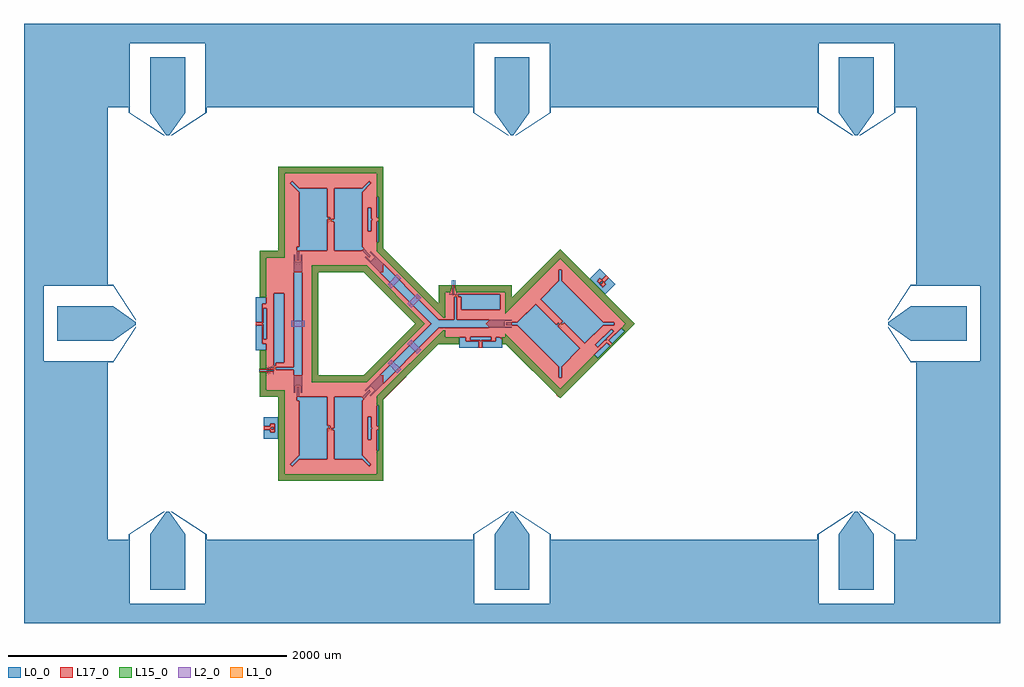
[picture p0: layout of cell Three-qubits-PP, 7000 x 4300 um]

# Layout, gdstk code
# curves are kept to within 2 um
import gdstk
lib = gdstk.Library(unit=1e-6, precision=1e-09)
def R(c, l, rs):  # rectangles x0, y0, x1, y1
    for r in rs: c.add(gdstk.rectangle(r[:2], r[2:], *l))
def P(c, l, *ps):  # polygons
    for p in ps: c.add(gdstk.Polygon(p, *l))
L0_0 = (0, 0)
L1_0 = (1, 0)
L2_0 = (2, 0)
L15_0 = (15, 0)
L17_0 = (17, 0)

three_qubits_pp = lib.new_cell('Three-qubits-PP')
R(three_qubits_pp, L0_0, [(2530,1237.4,2545,1388), (2530,1412,2545,1562.6), (2530,2733.4,2545,2884), (2530,2908,2545,3058.6)])
P(three_qubits_pp, L0_0, [(7000,0),(7000,4300),(0,4300),(0,1871),(132,1871),(132,2429),(600,2429),(600,3700),(751,3700),(751,4168),(1309,4168),(1309,3700),(3221,3700),(3221,4168),(3779,4168),(3779,3700),(5691,3700),(5691,4168),(6249,4168),(6249,3700),(6400,3700),(6400,2429),(6868,2429),(6868,1871),(6400,1871),(6400,600),(6249,600),(6249,132),(5691,132),(5691,600),(3779,600),(3779,132),(3221,132),(3221,600),(1309,600),(1309,132),(751,132),(751,600),(600,600),(600,1871),(132,1871),(0,1871),(0,0)],
  [(800,2118),(800,2128),(640,1879),(140,1879),(140,2421),(640,2421),(800,2172),(800,2182),(640,2429),(132,2429),(132,1871),(640,1871)],
  [(240,2025),(640,2025),(800,2140),(800,2160),(640,2275),(240,2275)],
  [(6200,2182),(6200,2172),(6360,2421),(6860,2421),(6860,1879),(6360,1879),(6200,2128),(6200,2118),(6360,1871),(6868,1871),(6868,2429),(6360,2429)],
  [(6760,2275),(6360,2275),(6200,2160),(6200,2140),(6360,2025),(6760,2025)],
  [(1062,800),(1052,800),(1301,640),(1301,140),(759,140),(759,640),(1008,800),(998,800),(751,640),(751,132),(1309,132),(1309,640)],
  [(1155,240),(1155,640),(1040,800),(1020,800),(905,640),(905,240)],
  [(998,3500),(1008,3500),(759,3660),(759,4160),(1301,4160),(1301,3660),(1052,3500),(1062,3500),(1309,3660),(1309,4168),(751,4168),(751,3660)],
  [(905,4060),(905,3660),(1020,3500),(1040,3500),(1155,3660),(1155,4060)],
  [(3532,800),(3522,800),(3771,640),(3771,140),(3229,140),(3229,640),(3478,800),(3468,800),(3221,640),(3221,132),(3779,132),(3779,640)],
  [(3625,240),(3625,640),(3510,800),(3490,800),(3375,640),(3375,240)],
  [(3468,3500),(3478,3500),(3229,3660),(3229,4160),(3771,4160),(3771,3660),(3522,3500),(3532,3500),(3779,3660),(3779,4168),(3221,4168),(3221,3660)],
  [(3375,4060),(3375,3660),(3490,3500),(3510,3500),(3625,3660),(3625,4060)],
  [(6002,800),(5992,800),(6241,640),(6241,140),(5699,140),(5699,640),(5948,800),(5938,800),(5691,640),(5691,132),(6249,132),(6249,640)],
  [(6095,240),(6095,640),(5980,800),(5960,800),(5845,640),(5845,240)],
  [(5938,3500),(5948,3500),(5699,3660),(5699,4160),(6241,4160),(6241,3660),(5992,3500),(6002,3500),(6249,3660),(6249,4168),(5691,4168),(5691,3660)],
  [(5845,4060),(5845,3660),(5960,3500),(5980,3500),(6095,3660),(6095,4060)],
  [(1975,1175),(2175,1175),(2175,1400),(2182,1400),(2182,1408),(2187,1408),(2187,1400),(2195,1400),(2195,1416),(2175,1416),(2175,1625),(1975,1625),(1975,1695),(1955,1695),(1955,1595),(1975,1595),(1975,1203.284),(1911.36,1139.645),(1925.503,1125.503)],
  [(2488.64,1139.645),(2425,1203.284),(2425,1596.716),(2488.64,1660.355),(2474.497,1674.497),(2425,1625),(2225,1625),(2225,1400),(2205,1400),(2205,1392),(2213,1392),(2213,1387),(2205,1387),(2205,1384),(2225,1384),(2225,1175),(2425,1175),(2474.497,1125.503)],
  [(2490,1396),(2497,1396),(2497,1404),(2490,1404),(2490,1482.6),(2465,1482.6),(2465,1317.4),(2490,1317.4)],
  [(1822,1478),(1719,1478),(1719,1412),(1767,1412),(1767,1430),(1797,1430),(1797,1370),(1767,1370),(1767,1388),(1719,1388),(1719,1322),(1822,1322)],
  [(1790,1407),(1774,1407),(1774,1404),(1767,1404),(1767,1396),(1774,1396),(1774,1393),(1790,1393)],
  [(2488.64,2635.645),(2425,2699.284),(2425,3092.716),(2488.64,3156.355),(2474.497,3170.497),(2425,3121),(2225,3121),(2225,2896),(2205,2896),(2205,2888),(2213,2888),(2213,2883),(2205,2883),(2205,2880),(2225,2880),(2225,2671),(2425,2671),(2474.497,2621.503)],
  [(1975,2671),(2175,2671),(2175,2896),(2182,2896),(2182,2904),(2187,2904),(2187,2896),(2195,2896),(2195,2912),(2175,2912),(2175,3121),(1975,3121),(1925.503,3170.497),(1911.36,3156.355),(1975,3092.716),(1975,2701),(1955,2701),(1955,2601),(1975,2601)],
  [(2490,2892),(2497,2892),(2497,2900),(2490,2900),(2490,2978.6),(2465,2978.6),(2465,2813.4),(2490,2813.4)],
  [(4234.198,2158.001),(4154.198,2158),(3856,2456.198),(3856.001,2536.198),(3835.999,2536.198),(3836,2456.198),(3704.579,2324.777),(3863.678,2165.678),(3849.536,2151.536),(3855.192,2145.879),(3860.849,2151.536),(3864.385,2148),(3858.728,2142.343),(3860.849,2140.222),(3874.991,2154.364),(4022.777,2006.579),(4154.198,2138),(4234.198,2137.999)],
  [(3856,1839.802),(3987.421,1971.223),(3828.322,2130.322),(3833.272,2135.272),(3827.615,2140.929),(3831.151,2144.464),(3836.808,2138.808),(3842.464,2144.464),(3831.151,2155.778),(3817.009,2141.636),(3669.223,2289.421),(3537.802,2158),(3457.802,2158.001),(3457.802,2137.999),(3537.802,2138),(3836,1839.802),(3835.999,1759.802),(3856.001,1759.802)],
  [(4194.604,2479.633),(4160.663,2445.692),(4173.39,2432.964),(4152.177,2411.751),(4109.751,2454.177),(4130.964,2475.39),(4143.692,2462.663),(4177.633,2496.604),(4130.964,2543.273),(4058.132,2470.441),(4168.441,2360.132),(4241.273,2432.964)],
  [(4150.056,2446.399),(4155.006,2451.349),(4149.349,2457.006),(4144.399,2452.056),(4142.278,2454.177),(4130.964,2442.864),(4140.864,2432.964),(4152.177,2444.278)],
  [(4175.512,2039.106),(4229.252,2092.846),(4211.574,2110.523),(4098.437,1997.386),(4116.115,1979.709),(4169.855,2033.449),(4174.805,2028.499),(4180.462,2034.156)],
  [(4178.34,2013.65),(4091.366,1926.676),(4116.115,1901.927),(4203.089,1988.901)],
  [(4282.285,2117.594),(4195.311,2030.62),(4220.059,2005.872),(4307.034,2092.846)],
  [(1985,2593),(1945,2593),(1945,2643),(1935,2643),(1935,1836),(1806,1836),(1806,1820),(1935,1820),(1935,1653),(1945,1653),(1945,1703),(1985,1703),(1985,1653),(1995,1653),(1995,2643),(1985,2643)],
  [(1738,1824.5),(1688,1824.5),(1688,1821.5),(1738,1821.5),(1788,1836.5),(1788,1816.5),(1688,1816.5),(1688,1807.5),(1788,1807.5),(1788,1787.5),(1738,1802.5),(1688,1802.5),(1688,1799.5),(1738,1799.5),(1788,1784.5),(1791,1784.5),(1791,1839.5),(1788,1839.5)],
  [(1790,1846),(1806,1846),(1806,1868),(1865,1868),(1865,2368),(1790,2368)],
  [(1662.5,1956.4),(1737.5,1956.4),(1737.5,2004.4),(1710.5,2004.4),(1710.5,2136),(1662.5,2136)],
  [(1717.5,2152),(1710.5,2152),(1710.5,2144),(1717.5,2144),(1717.5,2036.4),(1742.5,2036.4),(1742.5,2259.6),(1717.5,2259.6)],
  [(1662.5,2160),(1710.5,2160),(1710.5,2291.6),(1737.5,2291.6),(1737.5,2339.6),(1662.5,2339.6)],
  [(3447,2128),(3447,2168),(3497,2168),(3497,2178),(3103,2178),(3103,2342),(3087,2342),(3087,2178),(2975,2178),(2485.682,2667.318),(2478.611,2660.247),(2513.966,2624.891),(2485.682,2596.607),(2450.327,2631.963),(2443.256,2624.891),(2920.148,2148),(2443.256,1671.109),(2450.327,1664.037),(2485.682,1699.393),(2513.966,1671.109),(2478.611,1635.753),(2485.682,1628.682),(2975,2118),(3497,2118),(3497,2128)],
  [(3091.5,2410),(3091.5,2460),(3088.5,2460),(3088.5,2410),(3103.5,2360),(3083.5,2360),(3083.5,2460),(3074.5,2460),(3074.5,2360),(3054.5,2360),(3069.5,2410),(3069.5,2460),(3066.5,2460),(3066.5,2410),(3051.5,2360),(3051.5,2357),(3106.5,2357),(3106.5,2360)],
  [(3113,2358),(3113,2342),(3135,2342),(3135,2248),(3415,2248),(3415,2358)],
  [(3168.01,2023.5),(3168.01,2050.5),(3120.01,2050.5),(3120.01,1975.5),(3263,1975.5),(3263,2023.5)],
  [(3200.01,2055.5),(3200.01,2030.5),(3271,2030.5),(3271,2023.5),(3279,2023.5),(3279,2030.5),(3349.99,2030.5),(3349.99,2055.5)],
  [(3381.99,2050.5),(3381.99,2023.5),(3287,2023.5),(3287,1975.5),(3429.99,1975.5),(3429.99,2050.5)])
P(three_qubits_pp, L1_0, [(2180.5,1388.606),(2180.5,1388.394),(2185.394,1388.394),(2185.394,1375.5),(2185.606,1375.5),(2185.606,1388.394),(2200.5,1388.394),(2200.5,1387.5),(2212.5,1387.5),(2212.5,1389.5),(2200.5,1389.5),(2200.5,1388.606),(2185.606,1388.606),(2185.606,1395.5),(2186.5,1395.5),(2186.5,1407.5),(2184.5,1407.5),(2184.5,1395.5),(2185.394,1395.5),(2185.394,1388.606)],
  [(2180.5,2884.606),(2180.5,2884.394),(2185.394,2884.394),(2185.394,2871.5),(2185.606,2871.5),(2185.606,2884.394),(2200.5,2884.394),(2200.5,2883.5),(2212.5,2883.5),(2212.5,2885.5),(2200.5,2885.5),(2200.5,2884.606),(2185.606,2884.606),(2185.606,2891.5),(2186.5,2891.5),(2186.5,2903.5),(2184.5,2903.5),(2184.5,2891.5),(2185.394,2891.5),(2185.394,2884.606)],
  [(3840.268,2126.155),(3840.418,2126.005),(3843.879,2129.465),(3852.996,2120.348),(3853.146,2120.498),(3844.029,2129.615),(3854.56,2140.147),(3855.192,2139.515),(3863.678,2148),(3862.263,2149.414),(3853.778,2140.929),(3854.41,2140.297),(3843.879,2129.765),(3839.004,2134.64),(3839.636,2135.272),(3831.151,2143.757),(3829.737,2142.343),(3838.222,2133.858),(3838.854,2134.49),(3843.729,2129.615)],
  [(1797.788,1830.773),(1795,1830.773),(1795,1830.561),(1797.788,1830.561),(1797.788,1825.439),(1795,1825.439),(1795,1825.227),(1797.788,1825.227),(1797.788,1821),(1798,1821),(1798,1825.227),(1806,1825.227),(1806,1825.439),(1798,1825.439),(1798,1830.561),(1806,1830.561),(1806,1830.773),(1798,1830.773),(1798,1846),(1797.788,1846)],
  [(3097.773,2350.212),(3097.773,2353),(3097.561,2353),(3097.561,2350.212),(3092.439,2350.212),(3092.439,2353),(3092.227,2353),(3092.227,2350.212),(3088,2350.212),(3088,2350),(3092.227,2350),(3092.227,2342),(3092.439,2342),(3092.439,2350),(3097.561,2350),(3097.561,2342),(3097.773,2342),(3097.773,2350),(3113,2350),(3113,2350.212)])
R(three_qubits_pp, L2_0, [(1915,2128,2015,2168)])
P(three_qubits_pp, L2_0, [(2635.589,1891.726),(2607.304,1863.442),(2678.015,1792.731),(2706.299,1821.015)],
  [(2678.015,2503.269),(2607.304,2432.558),(2635.589,2404.274),(2706.299,2474.985)],
  [(2777.01,2033.147),(2748.726,2004.863),(2819.437,1934.152),(2847.721,1962.437)],
  [(2819.437,2361.848),(2748.726,2291.137),(2777.01,2262.853),(2847.721,2333.563)])
R(three_qubits_pp, L15_0, [(1689.5,1824.5,1737.5,1956.4)])
P(three_qubits_pp, L15_0, [(3023,2375.5),(3056.15,2375.5),(3066.5,2410),(3066.5,2423.5),(2975,2423.5),(2975,2291.137),(2578,2688.137),(2578,3274),(1822,3274),(1822,2671),(1689.5,2671),(1689.5,2339.6),(1737.5,2339.6),(1737.5,2623),(1870,2623),(1870,3226),(2530,3226),(2530,3058.6),(2545,3058.6),(2545,2733.4),(2530,2733.4),(2530,2668.255),(3005.255,2193),(3023,2193)],
  [(4380.573,2148),(3846,2682.573),(3498,2334.573),(3498,2423.5),(3091.5,2423.5),(3091.5,2410),(3101.85,2375.5),(3450,2375.5),(3450,2218.69),(3846,2614.69),(4312.69,2148),(4282.285,2117.594),(4307.034,2092.846),(4116.115,1901.927),(4091.366,1926.676),(3846,1681.31),(3450,2077.31),(3450,2050.5),(3429.99,2050.5),(3429.99,2002.5),(3456.927,2002.5),(3846,1613.427)],
  [(2456.892,1730),(2874.893,2148),(2456.892,2566),(2062.5,2566),(2062.5,1778),(2110.5,1778),(2110.5,2518),(2437.01,2518),(2807.01,2148),(2437.01,1778),(2062.5,1778),(2062.5,1730)],
  [(2578,1607.863),(2975,2004.863),(2975,2002.5),(3120.01,2002.5),(3120.01,2050.5),(3023,2050.5),(3023,2103),(3005.255,2103),(2530,1627.745),(2530,1562.6),(2545,1562.6),(2545,1237.4),(2530,1237.4),(2530,1070),(1870,1070),(1870,1673),(1737.5,1673),(1737.5,1799.5),(1689.5,1799.5),(1689.5,1625),(1822,1625),(1822,1022),(2578,1022)])
P(three_qubits_pp, L17_0, [(2578,1022),(2578,1778),(1822,1778),(1822,1139.645),(1911.36,1139.645),(1975,1203.284),(1975,1595),(1955,1595),(1955,1695),(1975,1695),(1975,1625),(2175,1625),(2175,1416),(2195,1416),(2195,1400),(2187,1400),(2187,1408),(2182,1408),(2182,1400),(2175,1400),(2175,1384),(2205,1384),(2205,1387),(2213,1387),(2213,1392),(2205,1392),(2205,1400),(2225,1400),(2225,1625),(2425,1625),(2474.497,1674.497),(2488.64,1660.355),(2425,1596.716),(2425,1317.4),(2465,1317.4),(2465,1482.6),(2490,1482.6),(2490,1412),(2530,1412),(2530,1562.6),(2545,1562.6),(2545,1412),(2490,1412),(2490,1404),(2497,1404),(2497,1396),(2490,1396),(2490,1317.4),(2425,1317.4),(2425,1237.4),(2530,1237.4),(2530,1388),(2545,1388),(2545,1237.4),(2425,1237.4),(2425,1203.284),(2488.64,1139.645),(2474.497,1125.503),(2425,1175),(2225,1175),(2225,1384),(2175,1384),(2175,1175),(1975,1175),(1925.503,1125.503),(1911.36,1139.645),(1822,1139.645),(1822,1022)],
  [(1767,1388),(1767,1370),(1797,1370),(1797,1430),(1767,1430),(1767,1412),(1719,1412),(1719,1396),(1767,1396),(1767,1404),(1774,1404),(1774,1407),(1790,1407),(1790,1393),(1774,1393),(1774,1396),(1767,1396),(1719,1396),(1719,1388)],
  [(2578,3274),(1822,3274),(1822,3156.355),(1911.36,3156.355),(1925.503,3170.497),(1975,3121),(2175,3121),(2175,2912),(2195,2912),(2195,2896),(2187,2896),(2187,2904),(2182,2904),(2182,2896),(2175,2896),(2175,2880),(2205,2880),(2205,2883),(2213,2883),(2213,2888),(2205,2888),(2205,2896),(2225,2896),(2225,3121),(2425,3121),(2474.497,3170.497),(2488.64,3156.355),(2425,3092.716),(2425,2813.4),(2465,2813.4),(2465,2978.6),(2490,2978.6),(2490,2908),(2530,2908),(2530,3058.6),(2545,3058.6),(2545,2908),(2490,2908),(2490,2900),(2497,2900),(2497,2892),(2490,2892),(2490,2813.4),(2425,2813.4),(2425,2733.4),(2530,2733.4),(2530,2884),(2545,2884),(2545,2733.4),(2425,2733.4),(2425,2699.284),(2488.64,2635.645),(2474.497,2621.503),(2425,2671),(2225,2671),(2225,2880),(2175,2880),(2175,2671),(1975,2671),(1975,2601),(1955,2601),(1955,2701),(1975,2701),(1975,3092.716),(1911.36,3156.355),(1822,3156.355),(1822,2518),(2578,2518)],
  [(3846,2682.573),(3311.427,2148),(3767.812,1691.615),(3835.999,1759.802),(3836,1839.802),(3537.802,2138),(3457.802,2137.999),(3457.802,2158.001),(3537.802,2158),(3669.223,2289.421),(3817.009,2141.636),(3831.151,2155.778),(3842.464,2144.464),(3836.808,2138.808),(3831.151,2144.464),(3827.615,2140.929),(3833.272,2135.272),(3828.322,2130.322),(3839.636,2119.009),(3860.849,2140.222),(3858.728,2142.343),(3864.385,2148),(3860.849,2151.536),(3855.192,2145.879),(3849.536,2151.536),(3863.678,2165.678),(3704.579,2324.777),(3836,2456.198),(3835.999,2536.198),(3856.001,2536.198),(3856,2456.198),(4154.198,2158),(4234.198,2158.001),(4234.198,2137.999),(4154.198,2138),(4022.777,2006.579),(3874.991,2154.364),(3839.636,2119.009),(3987.421,1971.223),(3856,1839.802),(3856.001,1759.802),(3835.999,1759.802),(3767.812,1691.615),(3797.917,1661.511),(4116.115,1979.709),(4098.437,1997.386),(4211.574,2110.523),(4229.252,2092.846),(4175.512,2039.106),(4180.462,2034.156),(4174.805,2028.499),(4169.855,2033.449),(3797.917,1661.511),(3836.808,1622.62),(4116.115,1901.927),(4091.366,1926.676),(4178.34,2013.65),(4203.089,1988.901),(4220.059,2005.872),(4195.311,2030.62),(4282.285,2117.594),(4307.034,2092.846),(3836.808,1622.62),(3846,1613.427),(4380.573,2148)],
  [(4143.692,2462.663),(4130.964,2475.39),(4109.751,2454.177),(4135.914,2428.014),(4140.864,2432.964),(4130.964,2442.864),(4142.278,2454.177),(4144.399,2452.056),(4149.349,2457.006),(4155.006,2451.349),(4150.056,2446.399),(4152.177,2444.278),(4135.914,2428.014),(4152.177,2411.751),(4173.39,2432.964),(4160.663,2445.692),(4194.604,2479.633),(4177.633,2496.604)],
  [(1689.5,1824.5),(1738,1824.5),(1791,1839.5),(1791,1784.5),(1738,1799.5),(1689.5,1799.5),(1689.5,1625),(2110.5,1625),(2110.5,2643),(1995,2643),(1995,1653),(1985,1653),(1985,1703),(1945,1703),(1945,1653),(1935,1653),(1935,1820),(1806,1820),(1806,1836),(1935,1836),(1935,2368),(1865,2368),(1865,1868),(1806,1868),(1806,1846),(1790,1846),(1790,2259.6),(1742.5,2259.6),(1742.5,2036.4),(1717.5,2036.4),(1717.5,2144),(1710.5,2144),(1710.5,2152),(1717.5,2152),(1717.5,2259.6),(1790,2259.6),(1790,2368),(1935,2368),(1935,2643),(1945,2643),(1945,2593),(1985,2593),(1985,2643),(2110.5,2643),(2110.5,2671),(1689.5,2671),(1689.5,2339.6),(1737.5,2339.6),(1737.5,2291.6),(1710.5,2291.6),(1710.5,2160),(1662.5,2160),(1662.5,2136),(1710.5,2136),(1710.5,2004.4),(1737.5,2004.4),(1737.5,1956.4),(1689.5,1956.4)],
  [(1689.5,1802.5),(1738,1802.5),(1788,1787.5),(1788,1807.5),(1689.5,1807.5)],
  [(1689.5,1821.5),(1689.5,1816.5),(1788,1816.5),(1788,1836.5),(1738,1821.5)],
  [(3069.5,2423.5),(3069.5,2410),(3054.5,2360),(3074.5,2360),(3074.5,2423.5)],
  [(3088.5,2423.5),(3083.5,2423.5),(3083.5,2360),(3103.5,2360),(3088.5,2410)],
  [(3168.01,2050.5),(3168.01,2023.5),(3263,2023.5),(3263,1975.5),(3279,1975.5),(3279,2023.5),(3271,2023.5),(3271,2030.5),(3200.01,2030.5),(3200.01,2055.5),(3349.99,2055.5),(3349.99,2030.5),(3279,2030.5),(3279,1975.5),(3287,1975.5),(3287,2023.5),(3381.99,2023.5),(3381.99,2050.5),(3429.99,2050.5),(3429.99,2002.5),(3498,2002.5),(3498,2423.5),(3091.5,2423.5),(3091.5,2410),(3106.5,2357),(3051.5,2357),(3066.5,2410),(3066.5,2423.5),(2975,2423.5),(2975,2291.137),(2506.895,2759.242),(2351.332,2603.678),(2807.01,2148),(2351.332,1692.322),(2485.682,1557.971),(2485.682,1628.682),(2478.611,1635.753),(2513.966,1671.109),(2485.682,1699.393),(2450.327,1664.037),(2443.256,1671.109),(2920.148,2148),(2443.256,2624.891),(2450.327,2631.963),(2485.682,2596.607),(2513.966,2624.891),(2478.611,2660.247),(2485.682,2667.318),(2975,2178),(3087,2178),(3087,2342),(3103,2342),(3103,2178),(3415,2178),(3415,2248),(3135,2248),(3135,2342),(3113,2342),(3113,2358),(3415,2358),(3415,2178),(3497,2178),(3497,2168),(3447,2168),(3447,2128),(3497,2128),(3497,2118),(2975,2118),(2485.682,1628.682),(2485.682,1557.971),(2506.895,1536.758),(2975,2004.863),(2975,2002.5),(3120.01,2002.5),(3120.01,2050.5)])

lib.write_gds('Three-qubits-PP.gds')
